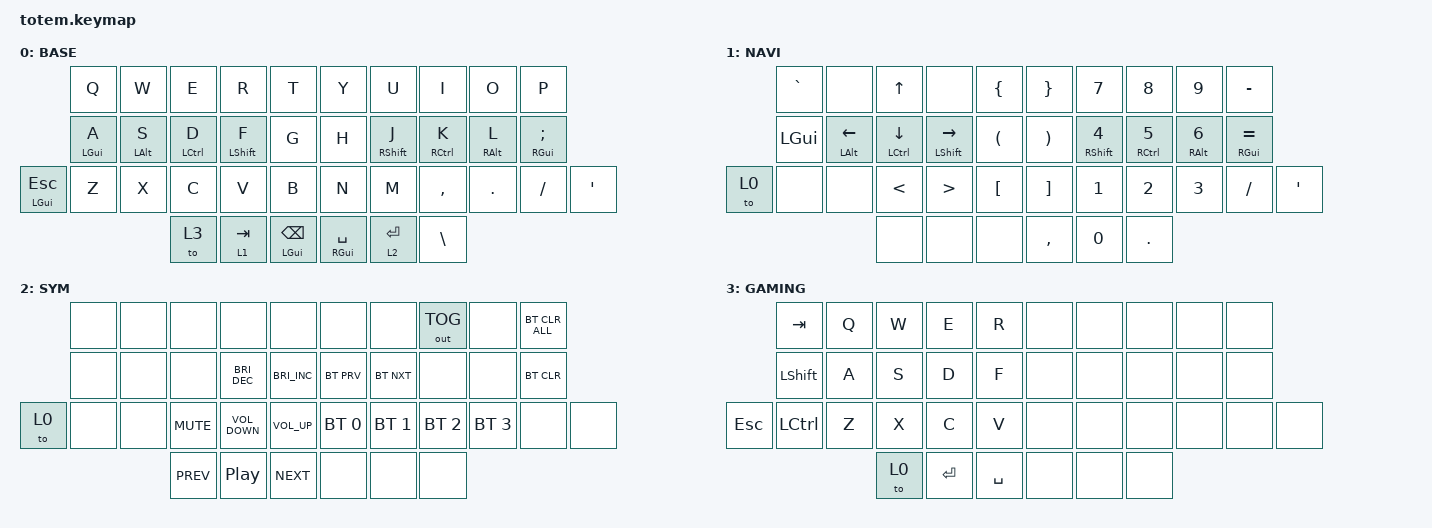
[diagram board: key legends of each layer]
//
//                                                        ▀▀▀▀▀     ▀▀▀▀▀          ▀▀█▀▀
//                                                        ▄▀▀▀▄  ▄  ▄▀▀▀▄  ▄  ▄▀▀▀▄  █  ▄▀▀▀▄
//                                                        █   █  █  █   █  █  █   █  █  █   █
//                                                         ▀▀▀   █   ▀▀▀   █   ▀▀▀   ▀   ▀▀▀
//                                                               █      ▄▄▄█▄▄▄    █   █  
//                                                               ▀      █  █  █     █▄█
//                                                             ▀▀▀▀▀    █  █  █      ▀
//                                                                      ▀  ▀  ▀
//
// ▄▄▄▄▄▄▄▄▄▄▄▄▄▄▄▄▄▄▄▄▄▄▄▄▄▄▄▄▄▄▄▄▄▄▄▄▄▄▄▄▄▄▄▄▄▄▄▄▄▄▄▄▄▄▄▄▄▄▄▄▄▄▄▄▄▄▄▄▄▄▄▄▄▄▄▄▄▄▄▄▄▄▄▄▄▄▄▄▄▄▄▄▄▄▄▄▄▄▄▄▄▄▄▄▄▄▄▄▄▄▄▄▄▄▄▄▄▄▄▄▄▄▄▄▄▄▄▄▄▄▄▄▄▄▄▄▄▄▄▄▄▄▄▄▄▄▄▄▄

#include <behaviors.dtsi>
#include <dt-bindings/zmk/bt.h>
#include <dt-bindings/zmk/keys.h>
#include <dt-bindings/zmk/outputs.h>

#define BASE    0
#define NAV     1
#define SYM     2
#define GAMING  3

&mt {
    quick-tap-ms = <200>;
    global-quick-tap;
    flavor = "tap-preferred";
    tapping-term-ms = <170>;
};

/ {
    combos { compatible = "zmk,combos"; };

    keymap {
        compatible = "zmk,keymap";

        // ▄▄▄▄▄▄▄▄▄▄▄▄▄▄▄▄▄▄▄▄▄▄▄▄▄▄▄▄▄▄▄▄▄▄▄▄▄▄▄▄▄▄▄▄▄▄▄▄▄▄▄▄▄▄▄▄▄▄▄▄▄▄▄▄▄▄▄▄▄▄▄▄▄▄▄▄▄▄▄▄▄▄▄▄▄▄▄▄▄▄▄▄▄▄▄▄▄▄▄▄▄▄▄▄▄▄▄▄▄▄▄▄▄▄▄▄▄▄▄▄▄▄▄▄▄▄▄▄▄▄▄▄▄▄▄▄▄▄▄▄▄▄▄▄▄▄▄▄▄

        base_layer {
            // ┏━━━━━━━━━━━━━━━━━━━━━━━━━━━━━━━━━━━━━━━┓

            label = "BASE";

            // ┗━━━━━━━━━━━━━━━━━━━━━━━━━━━━━━━━━━━━━━━┛
            //             ┏━━━━━━━━━━━┳━━━━━━━━━━━┳━━━━━━━━━━━┳━━━━━━━━━━━┳━━━━━━━━━━━┓   ┏━━━━━━━━━━━┳━━━━━━━━━━━┳━━━━━━━━━━━┳━━━━━━━━━━━┳━━━━━━━━━━━┓
            //             ┃     Q     ┃     W     ┃     E     ┃     R     ┃     T     ┃   ┃     Y     ┃     U     ┃     I     ┃     O     ┃     P     ┃
            //             ┣━━━━━━━━━━━╋━━━━━━━━━━━╋━━━━━━━━━━━╋━━━━━━━━━━━╋━━━━━━━━━━━┫   ┣━━━━━━━━━━━╋━━━━━━━━━━━╋━━━━━━━━━━━╋━━━━━━━━━━━╋━━━━━━━━━━━┫
            //             ┃   CMD A   ┃   ALT S   ┃  CTRL D   ┃  SHIFT D  ┃     G     ┃   ┃     H     ┃  SHIFT J  ┃  CTRL K   ┃   ALT L   ┃   CMD ;   ┃
            // ┏━━━━━━━━━━━╋━━━━━━━━━━━╋━━━━━━━━━━━╋━━━━━━━━━━━╋━━━━━━━━━━━╋━━━━━━━━━━━┫   ┣━━━━━━━━━━━╋━━━━━━━━━━━╋━━━━━━━━━━━╋━━━━━━━━━━━╋━━━━━━━━━━━╋━━━━━━━━━━━┓
            // ┃    ESC    ┃     Z     ┃     X     ┃     C     ┃     V     ┃     B     ┃   ┃     N     ┃     M     ┃     ,     ┃     .     ┃     /     ┃     '     ┃
            // ┗━━━━━━━━━━━┻━━━━━━━━━━━┻━━━━━━━━━━━╋━━━━━━━━━━━╋━━━━━━━━━━━╋━━━━━━━━━━━┫   ┣━━━━━━━━━━━╋━━━━━━━━━━━╋━━━━━━━━━━━╋━━━━━━━━━━━┻━━━━━━━━━━━┻━━━━━━━━━━━┛
            //                                     ┃   TO 3    ┃    TAB    ┃   BSPC    ┃   ┃    SPC    ┃   ENTER   ┃     \     ┃
            //                                     ┗━━━━━━━━━━━┻━━━━━━━━━━━┻━━━━━━━━━━━┛   ┗━━━━━━━━━━━┻━━━━━━━━━━━┻━━━━━━━━━━━┛

            bindings = <
                         &kp Q      &kp W      &kp E       &kp R       &kp T                &kp Y          &kp U       &kp I       &kp O      &kp P
                         &mt LGUI A &mt LALT S &mt LCTRL D &mt LSHFT F &kp G                &kp H          &mt RSHFT J &mt RCTRL K &mt RALT L &mt RGUI SEMI
            &mt LGUI ESC &kp Z      &kp X      &kp C       &kp V       &kp B                &kp N          &kp M       &kp COMMA   &kp DOT    &kp FSLH      &kp SQT
                                               &to 3       &lt 1 TAB   &mt LGUI BSPC        &mt RGUI SPACE &lt 2 ENTER &kp BSLH
            >;
        };

        // ▄▄▄▄▄▄▄▄▄▄▄▄▄▄▄▄▄▄▄▄▄▄▄▄▄▄▄▄▄▄▄▄▄▄▄▄▄▄▄▄▄▄▄▄▄▄▄▄▄▄▄▄▄▄▄▄▄▄▄▄▄▄▄▄▄▄▄▄▄▄▄▄▄▄▄▄▄▄▄▄▄▄▄▄▄▄▄▄▄▄▄▄▄▄▄▄▄▄▄▄▄▄▄▄▄▄▄▄▄▄▄▄▄▄▄▄▄▄▄▄▄▄▄▄▄▄▄▄▄▄▄▄▄▄▄▄▄▄▄▄▄▄▄▄▄▄▄▄▄

        nav_layer {
            // ┏━━━━━━━━━━━━━━━━━━━━━━━━━━━━━━━━━━━━━━━┓

            label = "NAVI";

            // ┗━━━━━━━━━━━━━━━━━━━━━━━━━━━━━━━━━━━━━━━┛
            //             ┏━━━━━━━━━━━┳━━━━━━━━━━━┳━━━━━━━━━━━┳━━━━━━━━━━━┳━━━━━━━━━━━┓   ┏━━━━━━━━━━━┳━━━━━━━━━━━┳━━━━━━━━━━━┳━━━━━━━━━━━┳━━━━━━━━━━━┓
            //             ┃     `     ┃           ┃    UP     ┃           ┃     {     ┃   ┃     }     ┃     7     ┃     8     ┃     9     ┃     -     ┃
            //             ┣━━━━━━━━━━━╋━━━━━━━━━━━╋━━━━━━━━━━━╋━━━━━━━━━━━╋━━━━━━━━━━━┫   ┣━━━━━━━━━━━╋━━━━━━━━━━━╋━━━━━━━━━━━╋━━━━━━━━━━━╋━━━━━━━━━━━┫
            //             ┃    CMD    ┃   LEFT    ┃   DOWN    ┃   RIGHT   ┃     (     ┃   ┃     )     ┃     4     ┃     5     ┃     6     ┃     =     ┃
            // ┏━━━━━━━━━━━╋━━━━━━━━━━━╋━━━━━━━━━━━╋━━━━━━━━━━━╋━━━━━━━━━━━╋━━━━━━━━━━━┫   ┣━━━━━━━━━━━╋━━━━━━━━━━━╋━━━━━━━━━━━╋━━━━━━━━━━━╋━━━━━━━━━━━╋━━━━━━━━━━━┓
            // ┃           ┃           ┃           ┃     <     ┃     >     ┃     [     ┃   ┃     ]     ┃     1     ┃     2     ┃     3     ┃     /     ┃     '     ┃
            // ┗━━━━━━━━━━━┻━━━━━━━━━━━┻━━━━━━━━━━━╋━━━━━━━━━━━╋━━━━━━━━━━━╋━━━━━━━━━━━┫   ┣━━━━━━━━━━━╋━━━━━━━━━━━╋━━━━━━━━━━━╋━━━━━━━━━━━┻━━━━━━━━━━━┻━━━━━━━━━━━┛
            //                                     ┃           ┃           ┃           ┃   ┃     ,     ┃     0     ┃     .     ┃
            //                                     ┗━━━━━━━━━━━┻━━━━━━━━━━━┻━━━━━━━━━━━┛   ┗━━━━━━━━━━━┻━━━━━━━━━━━┻━━━━━━━━━━━┛

            bindings = <
                       &kp GRAVE &none         &kp UP         &none           &kp LBRC      &kp RBRC   &kp N7       &kp N8       &kp N9      &kp MINUS
                       &kp LGUI  &mt LALT LEFT &mt LCTRL DOWN &mt LSHFT RIGHT &kp LPAR      &kp RPAR   &mt RSHFT N4 &mt RCTRL N5 &mt RALT N6 &mt RGUI EQUAL
                &to 0  &none     &none         &kp LT         &kp GT          &kp LBKT      &kp RBKT   &kp N1       &kp N2       &kp N3      &kp FSLH       &kp SQT
                                               &none          &none           &none         &kp COMMA  &kp N0       &kp DOT
            >;
        };

        // ▄▄▄▄▄▄▄▄▄▄▄▄▄▄▄▄▄▄▄▄▄▄▄▄▄▄▄▄▄▄▄▄▄▄▄▄▄▄▄▄▄▄▄▄▄▄▄▄▄▄▄▄▄▄▄▄▄▄▄▄▄▄▄▄▄▄▄▄▄▄▄▄▄▄▄▄▄▄▄▄▄▄▄▄▄▄▄▄▄▄▄▄▄▄▄▄▄▄▄▄▄▄▄▄▄▄▄▄▄▄▄▄▄▄▄▄▄▄▄▄▄▄▄▄▄▄▄▄▄▄▄▄▄▄▄▄▄▄▄▄▄▄▄▄▄▄▄▄▄

        sim_layer {
            // ┏━━━━━━━━━━━━━━━━━━━━━━━━━━━━━━━━━━━━━━━┓

            label = "SYM";

            // ┗━━━━━━━━━━━━━━━━━━━━━━━━━━━━━━━━━━━━━━━┛
            //             ┏━━━━━━━━━━━┳━━━━━━━━━━━┳━━━━━━━━━━━┳━━━━━━━━━━━┳━━━━━━━━━━━┓   ┏━━━━━━━━━━━┳━━━━━━━━━━━┳━━━━━━━━━━━┳━━━━━━━━━━━┳━━━━━━━━━━━┓
            //             ┃           ┃           ┃           ┃           ┃           ┃   ┃           ┃           ┃  OUT_TOG  ┃           ┃ BT_CLR_ALL┃
            //             ┣━━━━━━━━━━━╋━━━━━━━━━━━╋━━━━━━━━━━━╋━━━━━━━━━━━╋━━━━━━━━━━━┫   ┣━━━━━━━━━━━╋━━━━━━━━━━━╋━━━━━━━━━━━╋━━━━━━━━━━━╋━━━━━━━━━━━┫
            //             ┃           ┃           ┃           ┃   BRGHT-  ┃   BRGGT+  ┃   ┃  BT_PRV   ┃  BT_NXT   ┃           ┃           ┃  BT_CLR   ┃
            // ┏━━━━━━━━━━━╋━━━━━━━━━━━╋━━━━━━━━━━━╋━━━━━━━━━━━╋━━━━━━━━━━━╋━━━━━━━━━━━┫   ┣━━━━━━━━━━━╋━━━━━━━━━━━╋━━━━━━━━━━━╋━━━━━━━━━━━╋━━━━━━━━━━━╋━━━━━━━━━━━┓
            // ┃           ┃           ┃           ┃   MUTE    ┃    VOL-   ┃    VOL+   ┃   ┃   BT_0    ┃   BT_1    ┃   BT_2    ┃   BT_3    ┃           ┃           ┃
            // ┗━━━━━━━━━━━┻━━━━━━━━━━━┻━━━━━━━━━━━╋━━━━━━━━━━━╋━━━━━━━━━━━╋━━━━━━━━━━━┫   ┣━━━━━━━━━━━╋━━━━━━━━━━━╋━━━━━━━━━━━╋━━━━━━━━━━━┻━━━━━━━━━━━┻━━━━━━━━━━━┛
            //                                     ┃   PREV    ┃ PlayPause ┃    NEXT   ┃   ┃           ┃           ┃           ┃
            //                                     ┗━━━━━━━━━━━┻━━━━━━━━━━━┻━━━━━━━━━━━┛   ┗━━━━━━━━━━━┻━━━━━━━━━━━┻━━━━━━━━━━━┛

            bindings = <
                       &none  &none  &none      &none                &none                  &none        &none        &out OUT_TOG &none        &bt BT_CLR_ALL
                       &none  &none  &none      &kp C_BRIGHTNESS_DEC &kp C_BRIGHTNESS_INC   &bt BT_PRV   &bt BT_NXT   &none        &none        &bt BT_CLR
                &to 0  &none  &none  &kp K_MUTE &kp C_VOLUME_DOWN    &kp C_VOLUME_UP        &bt BT_SEL 0 &bt BT_SEL 1 &bt BT_SEL 2 &bt BT_SEL 3 &none          &none
                                     &kp C_PREV &kp C_PP             &kp C_NEXT             &none        &none        &none
            >;
        };

        // ▄▄▄▄▄▄▄▄▄▄▄▄▄▄▄▄▄▄▄▄▄▄▄▄▄▄▄▄▄▄▄▄▄▄▄▄▄▄▄▄▄▄▄▄▄▄▄▄▄▄▄▄▄▄▄▄▄▄▄▄▄▄▄▄▄▄▄▄▄▄▄▄▄▄▄▄▄▄▄▄▄▄▄▄▄▄▄▄▄▄▄▄▄▄▄▄▄▄▄▄▄▄▄▄▄▄▄▄▄▄▄▄▄▄▄▄▄▄▄▄▄▄▄▄▄▄▄▄▄▄▄▄▄▄▄▄▄▄▄▄▄▄▄▄▄▄▄▄▄

        gaming_layer {
            // ┏━━━━━━━━━━━━━━━━━━━━━━━━━━━━━━━━━━━━━━━┓

            label = "GAMING";

            // ┗━━━━━━━━━━━━━━━━━━━━━━━━━━━━━━━━━━━━━━━┛
            //             ┏━━━━━━━━━━━┳━━━━━━━━━━━┳━━━━━━━━━━━┳━━━━━━━━━━━┳━━━━━━━━━━━┓   ┏━━━━━━━━━━━┳━━━━━━━━━━━┳━━━━━━━━━━━┳━━━━━━━━━━━┳━━━━━━━━━━━┓
            //             ┃    TAB    ┃     Q     ┃     W     ┃     E     ┃     R     ┃   ┃           ┃           ┃           ┃           ┃           ┃
            //             ┣━━━━━━━━━━━╋━━━━━━━━━━━╋━━━━━━━━━━━╋━━━━━━━━━━━╋━━━━━━━━━━━┫   ┣━━━━━━━━━━━╋━━━━━━━━━━━╋━━━━━━━━━━━╋━━━━━━━━━━━╋━━━━━━━━━━━┫
            //             ┃   SHIFT   ┃     A     ┃     S     ┃     D     ┃     F     ┃   ┃           ┃           ┃           ┃           ┃           ┃
            // ┏━━━━━━━━━━━╋━━━━━━━━━━━╋━━━━━━━━━━━╋━━━━━━━━━━━╋━━━━━━━━━━━╋━━━━━━━━━━━┫   ┣━━━━━━━━━━━╋━━━━━━━━━━━╋━━━━━━━━━━━╋━━━━━━━━━━━╋━━━━━━━━━━━╋━━━━━━━━━━━┓
            // ┃    ESC    ┃   CTRL    ┃     Z     ┃     X     ┃     C     ┃     V     ┃   ┃           ┃           ┃           ┃           ┃           ┃           ┃
            // ┗━━━━━━━━━━━┻━━━━━━━━━━━┻━━━━━━━━━━━╋━━━━━━━━━━━╋━━━━━━━━━━━╋━━━━━━━━━━━┫   ┣━━━━━━━━━━━╋━━━━━━━━━━━╋━━━━━━━━━━━╋━━━━━━━━━━━┻━━━━━━━━━━━┻━━━━━━━━━━━┛
            //                                     ┃   TO 0    ┃   ENTER   ┃   SPACE   ┃   ┃           ┃           ┃           ┃
            //                                     ┗━━━━━━━━━━━┻━━━━━━━━━━━┻━━━━━━━━━━━┛   ┗━━━━━━━━━━━┻━━━━━━━━━━━┻━━━━━━━━━━━┛

            bindings = <
                            &kp TAB     &kp Q       &kp W       &kp E       &kp R           &none       &none       &none       &none       &none
                            &kp LSHFT   &kp A       &kp S       &kp D       &kp F           &none       &none       &none       &none       &none
                &kp ESC     &kp LCTRL   &kp Z       &kp X       &kp C       &kp V           &none       &none       &none       &none       &none       &none
                                                    &to 0       &kp ENTER   &kp SPACE       &none       &none       &none
            >;
        };

        // ▄▄▄▄▄▄▄▄▄▄▄▄▄▄▄▄▄▄▄▄▄▄▄▄▄▄▄▄▄▄▄▄▄▄▄▄▄▄▄▄▄▄▄▄▄▄▄▄▄▄▄▄▄▄▄▄▄▄▄▄▄▄▄▄▄▄▄▄▄▄▄▄▄▄▄▄▄▄▄▄▄▄▄▄▄▄▄▄▄▄▄▄▄▄▄▄▄▄▄▄▄▄▄▄▄▄▄▄▄▄▄▄▄▄▄▄▄▄▄▄▄▄▄▄▄▄▄▄▄▄▄▄▄▄▄▄▄▄▄▄▄▄▄▄▄▄▄▄▄
        // ▄▄▄▄▄▄▄▄▄▄▄▄▄▄▄▄▄▄▄▄▄▄▄▄▄▄▄▄▄▄▄▄▄▄▄▄▄▄▄▄▄▄▄▄▄▄▄▄▄▄▄▄▄▄▄▄▄▄▄▄▄▄▄▄▄▄▄▄▄▄▄▄▄▄▄▄▄▄▄▄▄▄▄▄▄▄▄▄▄▄▄▄▄▄▄▄▄▄▄▄▄▄▄▄▄▄▄▄▄▄▄▄▄▄▄▄▄▄▄▄▄▄▄▄▄▄▄▄▄▄▄▄▄▄▄▄▄▄▄▄▄▄▄▄▄▄▄▄▄
        // ▄▄▄▄▄▄▄▄▄▄▄▄▄▄▄▄▄▄▄▄▄▄▄▄▄▄▄▄▄▄▄▄▄▄▄▄▄▄▄▄▄▄▄▄▄▄▄▄▄▄▄▄▄▄▄▄▄▄▄▄▄▄▄▄▄▄▄▄▄▄▄▄▄▄▄▄▄▄▄▄▄▄▄▄▄▄▄▄▄▄▄▄▄▄▄▄▄▄▄▄▄▄▄▄▄▄▄▄▄▄▄▄▄▄▄▄▄▄▄▄▄▄▄▄▄▄▄▄▄▄▄▄▄▄▄▄▄▄▄▄▄▄▄▄▄▄▄▄▄
    };
};
